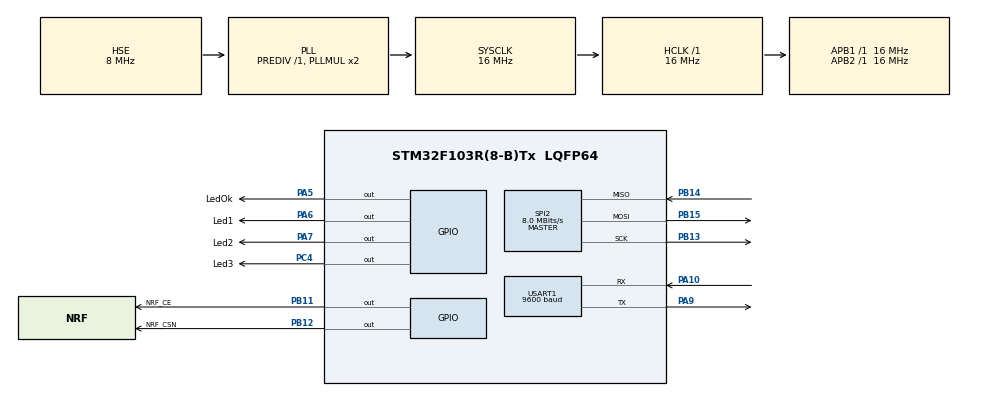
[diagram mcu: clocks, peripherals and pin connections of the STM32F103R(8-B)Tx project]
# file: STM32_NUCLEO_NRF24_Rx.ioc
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Mcu.Family=STM32F1
Mcu.Name=STM32F103R(8-B)Tx
Mcu.Package=LQFP64
NVIC.PriorityGroup=NVIC_PRIORITYGROUP_4
NVIC.USART1_IRQn=true\:0\:0\:false\:false\:true\:true\:true\:true
PA10.Mode=Asynchronous
PA10.Signal=USART1_RX
PA13.Mode=Serial_Wire
PA13.Signal=SYS_JTMS-SWDIO
PA14.Mode=Serial_Wire
PA14.Signal=SYS_JTCK-SWCLK
PA5.GPIO_Label=LedOk
PA5.Signal=GPIO_Output
PA6.GPIO_Label=Led1
PA6.Signal=GPIO_Output
PA7.GPIO_Label=Led2
PA7.Signal=GPIO_Output
PA9.Mode=Asynchronous
PA9.Signal=USART1_TX
PB11.GPIO_Label=NRF_CE
PB11.Signal=GPIO_Output
PB12.GPIO_Label=NRF_CSN
PB12.Signal=GPIO_Output
PB13.Mode=Full_Duplex_Master
PB13.Signal=SPI2_SCK
PB14.Mode=Full_Duplex_Master
PB14.Signal=SPI2_MISO
PB15.Mode=Full_Duplex_Master
PB15.Signal=SPI2_MOSI
PC4.GPIO_Label=Led3
PC4.Signal=GPIO_Output
PD0-OSC_IN.Mode=HSE-External-Oscillator
PD0-OSC_IN.Signal=RCC_OSC_IN
PD1-OSC_OUT.Mode=HSE-External-Oscillator
PD1-OSC_OUT.Signal=RCC_OSC_OUT
ProjectManager.HeapSize=0x200
ProjectManager.StackSize=0x400
ProjectManager.TargetToolchain=STM32CubeIDE
RCC.AHBFreq_Value=16000000
RCC.APB1Freq_Value=16000000
RCC.APB1TimFreq_Value=16000000
RCC.APB2Freq_Value=16000000
RCC.APB2TimFreq_Value=16000000
RCC.HCLKFreq_Value=16000000
RCC.PLLSourceVirtual=RCC_PLLSOURCE_HSE
RCC.SYSCLKFreq_VALUE=16000000
RCC.SYSCLKSource=RCC_SYSCLKSOURCE_PLLCLK
RCC.USBFreq_Value=16000000
SPI2.CalculateBaudRate=8.0 MBits/s
SPI2.Direction=SPI_DIRECTION_2LINES
SPI2.Mode=SPI_MODE_MASTER
SPI2.VirtualType=VM_MASTER
USART1.BaudRate=9600
USART1.VirtualMode=VM_ASYNC
board=custom

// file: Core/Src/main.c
/* USER CODE BEGIN Header */
/**
  ******************************************************************************
  * @file           : main.c
  * @brief          : Main program body
  ******************************************************************************
  * @attention
  *
  * Copyright (c) 2024 STMicroelectronics.
  * All rights reserved.
  *
  * This software is licensed under terms that can be found in the LICENSE file
  * in the root directory of this software component.
  * If no LICENSE file comes with this software, it is provided AS-IS.
  *
  ******************************************************************************
  */
/* USER CODE END Header */
#include "main.h"

/* USER CODE BEGIN Includes */
#include "nrf24l01.h"
#include "gps.h"
#include <stdio.h>
#include <string.h>
/* USER CODE END Includes */

/* USER CODE BEGIN PTD */
#define SIZE_RX_BUF 4

nrf24 nrfRx, NRFTX;
uint8_t rx_data[SIZE_RX_BUF];
uint8_t rxAddr[] = {0xEA, 0xDD, 0xCC, 0xBB, 0xAA};
uint8_t tx_address[] = {0xAA, 0xBB, 0xCC, 0xDD, 0xEA};
uint32_t LastGPS_Update = 0;
extern uint8_t rxDataGPS;

char googleMapsLink[32];
/* USER CODE END PTD */

SPI_HandleTypeDef hspi2;

UART_HandleTypeDef huart1;

void SystemClock_Config(void);
static void MX_GPIO_Init(void);
static void MX_SPI2_Init(void);
static void MX_USART1_UART_Init(void);

/* USER CODE BEGIN 0 */

void receiver()
{

 /* USER CODE BEGIN 2 */
 nrfRx.CE_port = NRF_CE_GPIO_Port;
 nrfRx.CE_pin = NRF_CE_Pin;
 nrfRx.CSN_port = NRF_CSN_GPIO_Port;
 nrfRx.CSN_pin = NRF_CSN_Pin;

 nrfRx.hSPIx = &hspi2;
 NRF24_Init(&nrfRx);
 NRF24_Set_DataRate(&nrfRx, _250KBS);
 NRF24_Set_PALevel(&nrfRx, HIGH);
 NRF24_Set_RxPipe(&nrfRx, rxAddr, 0, SIZE_RX_BUF);
 NRF24_Set_Mode(&nrfRx, RX_MODE);
}

void transmitter()
{
	NRFTX.CE_port = NRF_CE_GPIO_Port;
	NRFTX.CE_pin = NRF_CE_Pin;
	NRFTX.CSN_port = NRF_CSN_GPIO_Port;
	NRFTX.CSN_pin = NRF_CSN_Pin;
	NRFTX.hSPIx = &hspi2;
NRF24_Init(&NRFTX);
NRF24_Set_TxAddress(&NRFTX, tx_address);
}

/* USER CODE END 0 */

int main(void)
{

  /* MCU Configuration--------------------------------------------------------*/

  /* Reset of all peripherals, Initializes the Flash interface and the Systick. */
  HAL_Init();

  /* Configure the system clock */
  SystemClock_Config();

  /* USER CODE BEGIN SysInit */
  MX_GPIO_Init();
  MX_SPI2_Init();
  MX_USART1_UART_Init();
  /* USER CODE BEGIN 2 */
  receiver();
  /* USER CODE END SysInit */

  /* Initialize all configured peripherals */

  /* USER CODE END 2 */

  /* Infinite loop */
  while (1)
  {
	  HAL_UART_Receive_IT(&huart1, &rxDataGPS, 1);

	  if(NRF24_Available(&nrfRx, 0) == 1)
	{
		  NRF24_Receive(&nrfRx, rx_data, SIZE_RX_BUF);
		  HAL_GPIO_TogglePin(LedOk_GPIO_Port, LedOk_Pin);
		  HAL_GPIO_WritePin(Led1_GPIO_Port, Led1_Pin, rx_data[0]);
		  HAL_GPIO_WritePin(Led2_GPIO_Port, Led2_Pin, rx_data[1]);
		  HAL_GPIO_WritePin(Led3_GPIO_Port, Led3_Pin, rx_data[2]);

		  if(rx_data[3] == 1)
		  {
			  if(HAL_GetTick()-LastGPS_Update>= 10000)
			  {
				  gpsGetGoogleMapsLink(googleMapsLink);
				  printf("Google Maps Link: %s\n", googleMapsLink);

			      LastGPS_Update = HAL_GetTickFreq();
			      HAL_Delay(20);

			  }

		  }

	}
  }
}

void SystemClock_Config(void)
{
  RCC_OscInitTypeDef RCC_OscInitStruct = {0};
  RCC_ClkInitTypeDef RCC_ClkInitStruct = {0};

  /** Initializes the RCC Oscillators according to the specified parameters
  * in the RCC_OscInitTypeDef structure.
  */
  RCC_OscInitStruct.OscillatorType = RCC_OSCILLATORTYPE_HSE;
  RCC_OscInitStruct.HSEState = RCC_HSE_ON;
  RCC_OscInitStruct.HSEPredivValue = RCC_HSE_PREDIV_DIV1;
  RCC_OscInitStruct.HSIState = RCC_HSI_ON;
  RCC_OscInitStruct.PLL.PLLState = RCC_PLL_ON;
  RCC_OscInitStruct.PLL.PLLSource = RCC_PLLSOURCE_HSE;
  RCC_OscInitStruct.PLL.PLLMUL = RCC_PLL_MUL2;
  if (HAL_RCC_OscConfig(&RCC_OscInitStruct) != HAL_OK)
  {
    Error_Handler();
  }

  /** Initializes the CPU, AHB and APB buses clocks
  */
  RCC_ClkInitStruct.ClockType = RCC_CLOCKTYPE_HCLK|RCC_CLOCKTYPE_SYSCLK
                              |RCC_CLOCKTYPE_PCLK1|RCC_CLOCKTYPE_PCLK2;
  RCC_ClkInitStruct.SYSCLKSource = RCC_SYSCLKSOURCE_PLLCLK;
  RCC_ClkInitStruct.AHBCLKDivider = RCC_SYSCLK_DIV1;
  RCC_ClkInitStruct.APB1CLKDivider = RCC_HCLK_DIV1;
  RCC_ClkInitStruct.APB2CLKDivider = RCC_HCLK_DIV1;

  if (HAL_RCC_ClockConfig(&RCC_ClkInitStruct, FLASH_LATENCY_0) != HAL_OK)
  {
    Error_Handler();
  }
}

static void MX_SPI2_Init(void)
{

  /* SPI2 parameter configuration*/
  hspi2.Instance = SPI2;
  hspi2.Init.Mode = SPI_MODE_MASTER;
  hspi2.Init.Direction = SPI_DIRECTION_2LINES;
  hspi2.Init.DataSize = SPI_DATASIZE_8BIT;
  hspi2.Init.CLKPolarity = SPI_POLARITY_LOW;
  hspi2.Init.CLKPhase = SPI_PHASE_1EDGE;
  hspi2.Init.NSS = SPI_NSS_SOFT;
  hspi2.Init.BaudRatePrescaler = SPI_BAUDRATEPRESCALER_2;
  hspi2.Init.FirstBit = SPI_FIRSTBIT_MSB;
  hspi2.Init.TIMode = SPI_TIMODE_DISABLE;
  hspi2.Init.CRCCalculation = SPI_CRCCALCULATION_DISABLE;
  hspi2.Init.CRCPolynomial = 10;
  if (HAL_SPI_Init(&hspi2) != HAL_OK)
  {
    Error_Handler();
  }

}

static void MX_USART1_UART_Init(void)
{

  huart1.Instance = USART1;
  huart1.Init.BaudRate = 9600;
  huart1.Init.WordLength = UART_WORDLENGTH_8B;
  huart1.Init.StopBits = UART_STOPBITS_1;
  huart1.Init.Parity = UART_PARITY_NONE;
  huart1.Init.Mode = UART_MODE_TX_RX;
  huart1.Init.HwFlowCtl = UART_HWCONTROL_NONE;
  huart1.Init.OverSampling = UART_OVERSAMPLING_16;
  if (HAL_UART_Init(&huart1) != HAL_OK)
  {
    Error_Handler();
  }

}

static void MX_GPIO_Init(void)
{
  GPIO_InitTypeDef GPIO_InitStruct = {0};

  /* GPIO Ports Clock Enable */
  __HAL_RCC_GPIOD_CLK_ENABLE();
  __HAL_RCC_GPIOA_CLK_ENABLE();
  __HAL_RCC_GPIOC_CLK_ENABLE();
  __HAL_RCC_GPIOB_CLK_ENABLE();

  /*Configure GPIO pin Output Level */
  HAL_GPIO_WritePin(GPIOA, LedOk_Pin|Led1_Pin|Led2_Pin, GPIO_PIN_RESET);

  /*Configure GPIO pin Output Level */
  HAL_GPIO_WritePin(Led3_GPIO_Port, Led3_Pin, GPIO_PIN_RESET);

  /*Configure GPIO pin Output Level */
  HAL_GPIO_WritePin(GPIOB, NRF_CE_Pin|NRF_CSN_Pin, GPIO_PIN_RESET);

  /*Configure GPIO pins : LedOk_Pin Led1_Pin Led2_Pin */
  GPIO_InitStruct.Pin = LedOk_Pin|Led1_Pin|Led2_Pin;
  GPIO_InitStruct.Mode = GPIO_MODE_OUTPUT_PP;
  GPIO_InitStruct.Pull = GPIO_NOPULL;
  GPIO_InitStruct.Speed = GPIO_SPEED_FREQ_LOW;
  HAL_GPIO_Init(GPIOA, &GPIO_InitStruct);

  /*Configure GPIO pin : Led3_Pin */
  GPIO_InitStruct.Pin = Led3_Pin;
  GPIO_InitStruct.Mode = GPIO_MODE_OUTPUT_PP;
  GPIO_InitStruct.Pull = GPIO_NOPULL;
  GPIO_InitStruct.Speed = GPIO_SPEED_FREQ_LOW;
  HAL_GPIO_Init(Led3_GPIO_Port, &GPIO_InitStruct);

  /*Configure GPIO pins : NRF_CE_Pin NRF_CSN_Pin */
  GPIO_InitStruct.Pin = NRF_CE_Pin|NRF_CSN_Pin;
  GPIO_InitStruct.Mode = GPIO_MODE_OUTPUT_PP;
  GPIO_InitStruct.Pull = GPIO_NOPULL;
  GPIO_InitStruct.Speed = GPIO_SPEED_FREQ_LOW;
  HAL_GPIO_Init(GPIOB, &GPIO_InitStruct);

}

/* USER CODE BEGIN 4 */
int _write(int file, char *ptr, int len)
{
  (void)file;
  int DataIdx;

  for (DataIdx = 0; DataIdx < len; DataIdx++)
  {
    ITM_SendChar(*ptr++);
  }
  return len;
}
/* USER CODE END 4 */

void Error_Handler(void)
{
  __disable_irq();
  while (1)
  {
  }
}
